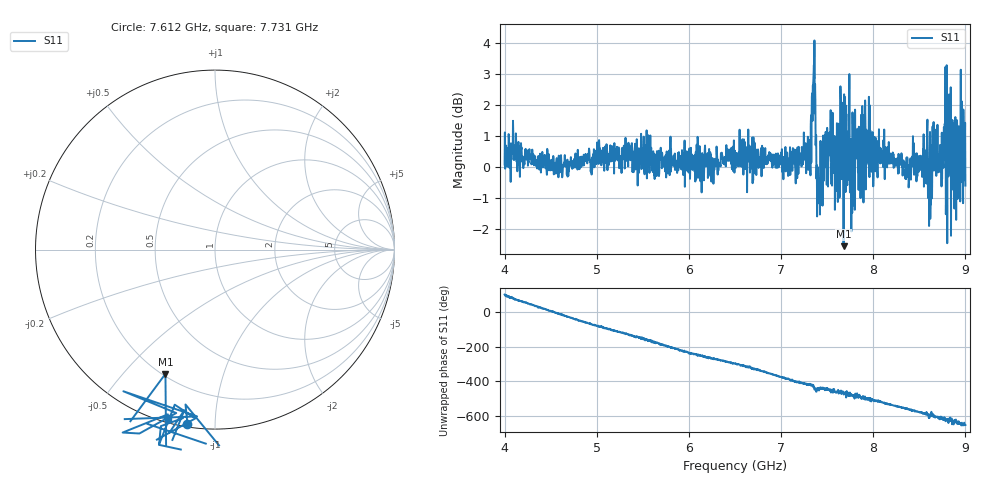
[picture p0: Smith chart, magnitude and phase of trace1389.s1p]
! Created with skrf 1.8.0 (http://scikit-rf.org).
# Hz S RI R 50.0
!freq ReS11 ImS11
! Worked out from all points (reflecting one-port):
!   1601 points, 4 GHz to 9 GHz, reference 50 ohm
!   lowest |S11| = -2.6 dB at 7.678 GHz (marker M1), VSWR 6.85, Z = 10.5 - j32.8 ohm
!   phase of S11 starts at 104 deg and turns -757 deg over the sweep
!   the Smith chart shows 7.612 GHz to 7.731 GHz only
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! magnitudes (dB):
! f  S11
! 4 GHz  0.1
! 4.1 GHz  0.7
! 4.625 GHz  -0.3
! 5.25 GHz  0.3
! 5.875 GHz  0.1
! 6.5 GHz  0.5
! 7.125 GHz  0.5
! 7.294 GHz  -0.1
! 7.347 GHz  2.6
! 7.362 GHz  4.1
! 7.409 GHz  -0.5
! 7.478 GHz  1.0
! 7.591 GHz  0.3
! 7.647 GHz  2.2
! 7.678 GHz  -2.6
! 7.75 GHz  -0.8
! 7.769 GHz  -1.1
! 7.8 GHz  -1.4
! 7.95 GHz  0.1
! 8.375 GHz  -0.3
! 8.566 GHz  -0.1
! 8.616 GHz  1.1
! 8.656 GHz  1.5
! 8.738 GHz  0.7
! 8.816 GHz  -0.3
! 8.869 GHz  -0.7
! 8.972 GHz  0.5
! 9 GHz  -0.6
